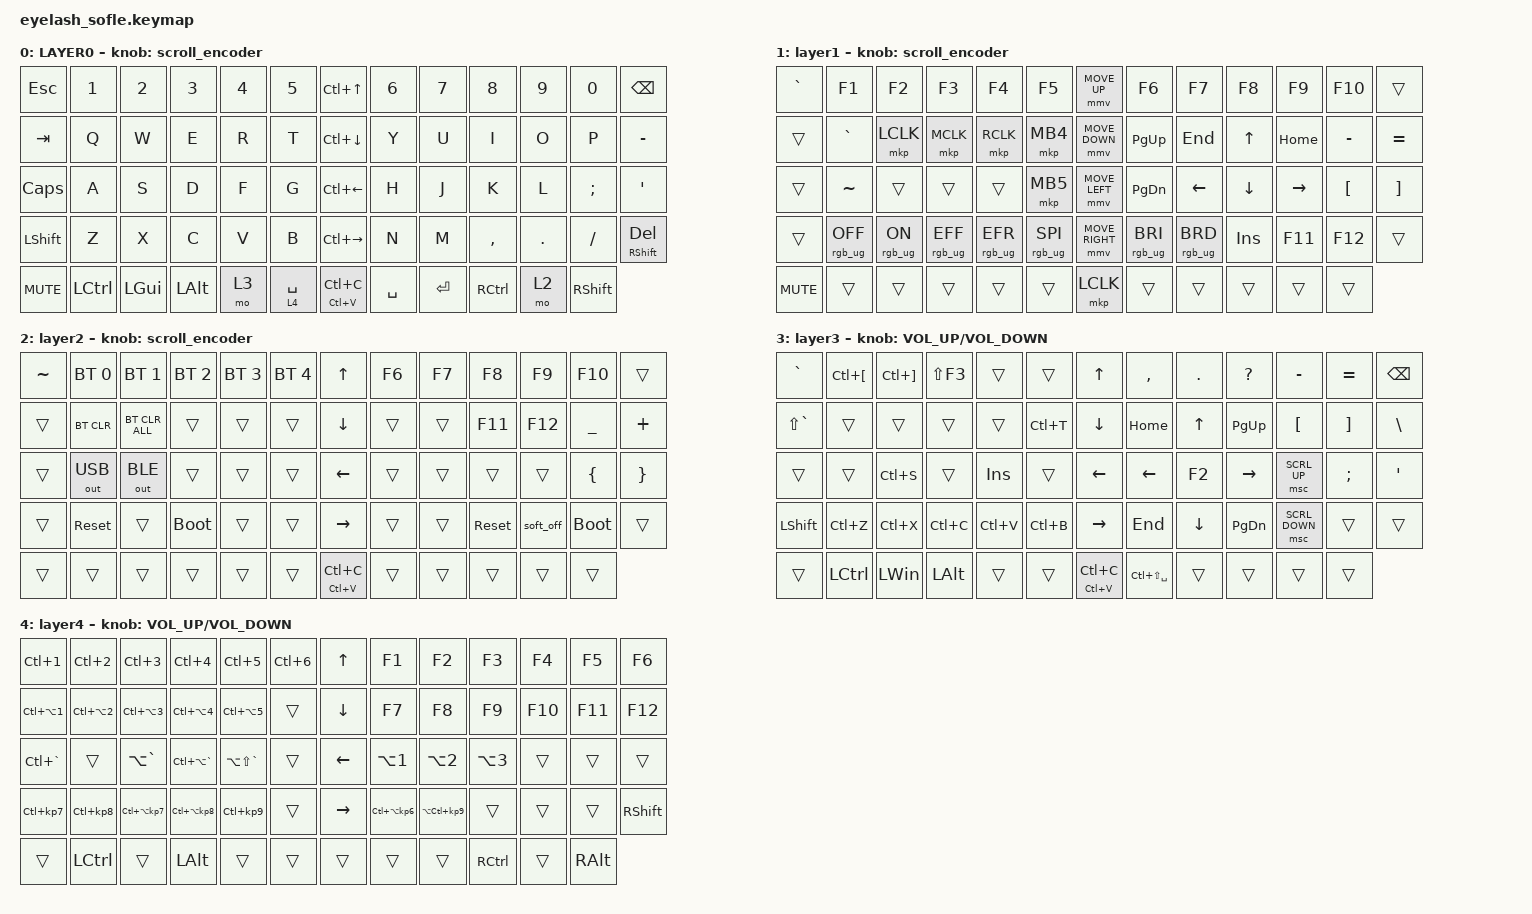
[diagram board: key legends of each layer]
#define ZMK_POINTING_DEFAULT_MOVE_VAL 1200  // 600
#define ZMK_POINTING_DEFAULT_SCRL_VAL 35    // 10

#include <input/processors.dtsi>
#include <zephyr/dt-bindings/input/input-event-codes.h>
#include <behaviors.dtsi>
#include <dt-bindings/zmk/bt.h>
#include <dt-bindings/zmk/keys.h>
#include <dt-bindings/zmk/outputs.h>
#include <dt-bindings/zmk/pointing.h>
#include <dt-bindings/zmk/rgb.h>

/ {
    zip_scroll_scaler: zip_scroll_scaler {
        compatible = "zmk,input-processor-scaler";
        #input-processor-cells = <2>;
        type = <INPUT_EV_REL>;
        codes = <INPUT_REL_WHEEL INPUT_REL_HWHEEL>;
        track-remainders;
    };
};

&mmv_input_listener { input-processors = <&zip_xy_scaler 2 1>; };

&msc_input_listener { input-processors = <&zip_scroll_scaler 2 1>; };

&msc {
    acceleration-exponent = <0>;      // 0
    time-to-max-speed-ms = <0>;       // 300
    delay-ms = <0>;                   // 0
};

&mmv {
    time-to-max-speed-ms = <400>;
    acceleration-exponent = <1>;
};

/ {
    scroll_encoder: scroll_encoder {
        compatible = "zmk,behavior-sensor-rotate";
        #sensor-binding-cells = <0>;
        bindings = <&msc SCRL_DOWN>, <&msc SCRL_UP>;

        tap-ms = <30>;
    };

    macros {
        shift_MB3: shift_MB3 {
            compatible = "zmk,behavior-macro";
            #binding-cells = <0>;
            bindings =
                <&macro_press>,
                <&kp LEFT_SHIFT>,
                <&macro_press>,
                <&mkp MB3>,
                <&macro_pause_for_release>,
                <&macro_release>,
                <&mkp MB3 &kp LEFT_SHIFT>;

            label = "SHIFT_MB3";
        };
    };

    behaviors {
    };
    keymap {
        compatible = "zmk,keymap";

        layer0 {
            bindings = <
&kp ESC     &kp N1     &kp N2        &kp N3        &kp N4  &kp N5         &kp LC(UP_ARROW)     &kp N6     &kp N7     &kp N8     &kp N9   &kp N0           &kp BACKSPACE
&kp TAB     &kp Q      &kp W         &kp E         &kp R   &kp T          &kp LC(DOWN_ARROW)   &kp Y      &kp U      &kp I      &kp O    &kp P            &kp MINUS
&kp CAPS    &kp A      &kp S         &kp D         &kp F   &kp G          &kp LC(LEFT_ARROW)   &kp H      &kp J      &kp K      &kp L    &kp SEMI         &kp APOS
&kp LSHFT   &kp Z      &kp X         &kp C         &kp V   &kp B          &kp LC(RIGHT_ARROW)  &kp N      &kp M      &kp COMMA  &kp DOT  &kp FSLH         &mt RIGHT_SHIFT DEL
&kp C_MUTE  &kp LCTRL  &kp LEFT_GUI  &kp LEFT_ALT  &mo 3   &lt 4 SPACE    &mt LC(V) LC(C)      &kp SPACE  &kp ENTER  &kp RCTRL  &mo 2    &kp RIGHT_SHIFT
            >;

            sensor-bindings = <&scroll_encoder>;
            display-name = "LAYER0";
        };

        layer_1 {
            bindings = <
&kp GRAVE   &kp F1           &kp F2          &kp F3           &kp F4           &kp F5             &mmv MOVE_UP     &kp F6           &kp F7           &kp F8      &kp F9     &kp F10           &trans
&trans      &kp GRAVE        &mkp LCLK       &mkp MCLK        &mkp RCLK        &mkp MB4           &mmv MOVE_DOWN   &kp PG_UP        &kp END          &kp UP      &kp HOME   &kp MINUS         &kp EQUAL
&trans      &kp TILDE        &trans          &trans           &trans           &mkp MB5           &mmv MOVE_LEFT   &kp PG_DN        &kp LEFT         &kp DOWN    &kp RIGHT  &kp LEFT_BRACKET  &kp RIGHT_BRACKET
&trans      &rgb_ug RGB_OFF  &rgb_ug RGB_ON  &rgb_ug RGB_EFF  &rgb_ug RGB_EFR  &rgb_ug RGB_SPI    &mmv MOVE_RIGHT  &rgb_ug RGB_BRI  &rgb_ug RGB_BRD  &kp INSERT  &kp F11    &kp F12           &trans
&kp C_MUTE  &trans           &trans          &trans           &trans           &trans             &mkp LCLK        &trans           &trans           &trans      &trans     &trans
            >;

            display-name = "layer1";
            sensor-bindings = <&scroll_encoder>;
        };

        layer_2 {
            bindings = <
&kp TILDE  &bt BT_SEL 0  &bt BT_SEL 1    &bt BT_SEL 2  &bt BT_SEL 3  &bt BT_SEL 4    &kp UP_ARROW     &kp F6  &kp F7  &kp F8      &kp F9     &kp F10      &trans
&trans     &bt BT_CLR    &bt BT_CLR_ALL  &trans        &trans        &trans          &kp DOWN         &trans  &trans  &kp F11     &kp F12    &kp UNDER    &kp PLUS
&trans     &out OUT_USB  &out OUT_BLE    &trans        &trans        &trans          &kp LEFT         &trans  &trans  &trans      &trans     &kp LBRC     &kp RBRC
&trans     &sys_reset    &trans          &bootloader   &trans        &trans          &kp RIGHT        &trans  &trans  &sys_reset  &soft_off  &bootloader  &trans
&trans     &trans        &trans          &trans        &trans        &trans          &mt LC(V) LC(C)  &trans  &trans  &trans      &trans     &trans
            >;

            display-name = "layer2";
            sensor-bindings = <&scroll_encoder>;
        };

        layer_3 {
            bindings = <
&kp GRAVE       &kp LC(LEFT_BRACKET)  &kp LC(RIGHT_BRACKET)  &kp LS(F3)    &trans      &trans       &kp UP_ARROW     &kp COMMA          &kp PERIOD    &kp QUESTION   &kp MINUS         &kp EQUAL          &kp BACKSPACE
&kp LS(GRAVE)   &trans                &trans                 &trans        &trans      &kp LC(T)    &kp DOWN_ARROW   &kp HOME           &kp UP_ARROW  &kp PAGE_UP    &kp LEFT_BRACKET  &kp RIGHT_BRACKET  &kp BACKSLASH
&trans          &trans                &kp LC(S)              &trans        &kp INSERT  &trans       &kp LEFT_ARROW   &kp LEFT           &kp F2        &kp RIGHT      &msc SCRL_UP      &kp SEMI           &kp APOS
&kp LEFT_SHIFT  &kp LC(Z)             &kp LC(X)              &kp LC(C)     &kp LC(V)   &kp LC(B)    &kp RIGHT        &kp END            &kp DOWN      &kp PAGE_DOWN  &msc SCRL_DOWN    &trans             &trans
&trans          &kp LEFT_CONTROL      &kp LEFT_WIN           &kp LEFT_ALT  &trans      &trans       &mt LC(V) LC(C)  &kp LC(LS(SPACE))  &trans        &trans         &trans            &trans
            >;

            display-name = "layer3";
            sensor-bindings = <&inc_dec_kp C_VOLUME_UP C_VOLUME_DOWN>;
        };

        layer_4 {
            bindings = <
&kp LC(NUMBER_1)      &kp LC(NUMBER_2)      &kp LC(NUMBER_3)      &kp LC(NUMBER_4)      &kp LC(N5)         &kp LC(NUMBER_6)    &kp UP_ARROW  &kp F1             &kp F2             &kp F3            &kp F4   &kp F5         &kp F6
&kp LC(LA(NUMBER_1))  &kp LC(LA(NUMBER_2))  &kp LC(LA(NUMBER_3))  &kp LC(LA(NUMBER_4))  &kp LC(LA(N5))     &trans              &kp DOWN      &kp F7             &kp F8             &kp F9            &kp F10  &kp F11        &kp F12
&kp LC(GRAVE)         &trans                &kp LA(GRAVE)         &kp LC(LA(GRAVE))     &kp LA(LS(GRAVE))  &trans              &kp LEFT      &kp LA(NUMBER_1)   &kp LA(NUMBER_2)   &kp LA(NUMBER_3)  &trans   &trans         &trans
&kp LC(KP_N7)         &kp LC(KP_N8)         &kp LC(LA(KP_N7))     &kp LC(LA(KP_N8))     &kp LC(KP_N9)      &trans              &kp RIGHT     &kp LC(LA(KP_N6))  &kp LA(LC(KP_N9))  &trans            &trans   &trans         &kp RSHIFT
&trans                &kp LCTRL             &trans                &kp LEFT_ALT          &trans             &trans              &trans        &trans             &trans             &kp RCTRL         &trans   &kp RIGHT_ALT
            >;

            display-name = "layer4";
            sensor-bindings = <&inc_dec_kp C_VOLUME_UP C_VOLUME_DOWN>;
        };
    };
};
